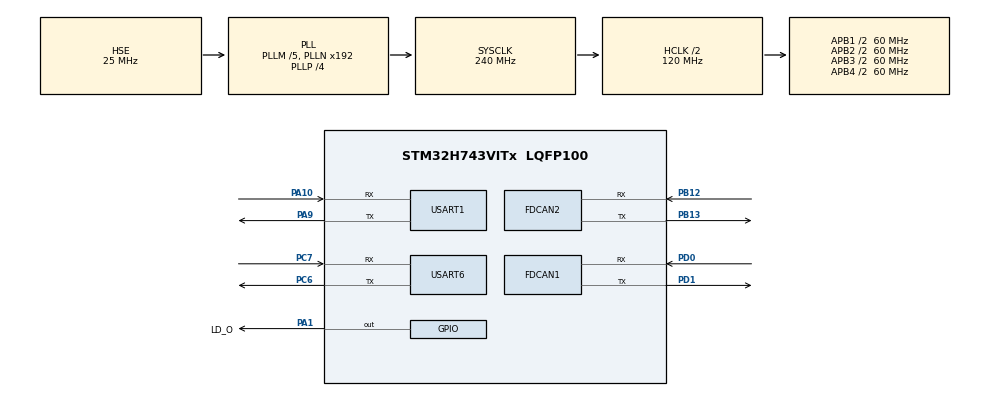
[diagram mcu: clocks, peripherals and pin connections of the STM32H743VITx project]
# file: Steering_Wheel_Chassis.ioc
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FDCAN1.DataSyncJumpWidth=8
FDCAN1.DataTimeSeg1=14
FDCAN1.DataTimeSeg2=5
FDCAN1.NominalSyncJumpWidth=8
FDCAN1.NominalTimeSeg1=14
FDCAN1.NominalTimeSeg2=5
FDCAN1.RxFifo0ElmtsNbr=1
FDCAN1.TxBuffersNbr=6
FDCAN1.TxFifoQueueElmtsNbr=6
FDCAN2.DataSyncJumpWidth=8
FDCAN2.DataTimeSeg1=14
FDCAN2.DataTimeSeg2=5
FDCAN2.NominalSyncJumpWidth=8
FDCAN2.NominalTimeSeg1=14
FDCAN2.NominalTimeSeg2=5
FDCAN2.RxFifo0ElmtsNbr=1
FDCAN2.TxBuffersNbr=6
FDCAN2.TxFifoQueueElmtsNbr=6
FREERTOS.Tasks01=defaultTask,24,128,StartDefaultTask,Default,NULL,Dynamic,NULL,NULL;myTaskA,25,128,StartTaskA,Default,NULL,Dynamic,NULL,NULL;myTaskB,26,128,StartTaskB,Default,NULL,Dynamic,NULL,NULL;myTaskC,27,128,StartTaskC,Default,NULL,Dynamic,NULL,NULL
Mcu.Family=STM32H7
Mcu.Name=STM32H743VITx
Mcu.Package=LQFP100
NVIC.FDCAN1_IT0_IRQn=true\:5\:0\:false\:false\:true\:true\:true\:true
NVIC.FDCAN2_IT0_IRQn=true\:5\:0\:false\:false\:true\:true\:true\:true
NVIC.PriorityGroup=NVIC_PRIORITYGROUP_4
NVIC.TIM2_IRQn=true\:5\:0\:false\:false\:true\:true\:true\:true
NVIC.TIM3_IRQn=true\:5\:0\:false\:false\:true\:true\:true\:true
PA1.GPIO_Label=LD_O
PA1.Signal=GPIO_Output
PA10.Mode=Asynchronous
PA10.Signal=USART1_RX
PA13\ (JTMS/SWDIO).Mode=Serial_Wire
PA13\ (JTMS/SWDIO).Signal=DEBUG_JTMS-SWDIO
PA14\ (JTCK/SWCLK).Mode=Serial_Wire
PA14\ (JTCK/SWCLK).Signal=DEBUG_JTCK-SWCLK
PA9.Mode=Asynchronous
PA9.Signal=USART1_TX
PB12.Mode=FDCAN_Activate
PB12.Signal=FDCAN2_RX
PB13.Mode=FDCAN_Activate
PB13.Signal=FDCAN2_TX
PC6.Mode=Asynchronous
PC6.Signal=USART6_TX
PC7.Mode=Asynchronous
PC7.Signal=USART6_RX
PD0.Mode=FDCAN_Activate
PD0.Signal=FDCAN1_RX
PD1.Mode=FDCAN_Activate
PD1.Signal=FDCAN1_TX
PH0-OSC_IN\ (PH0).Mode=HSE-External-Oscillator
PH0-OSC_IN\ (PH0).Signal=RCC_OSC_IN
PH1-OSC_OUT\ (PH1).Mode=HSE-External-Oscillator
PH1-OSC_OUT\ (PH1).Signal=RCC_OSC_OUT
ProjectManager.HeapSize=0x400
ProjectManager.StackSize=0x400
ProjectManager.TargetToolchain=Makefile
RCC.ADCFreq_Value=50390625
RCC.APB1Freq_Value=60000000
RCC.APB2Freq_Value=60000000
RCC.APB3Freq_Value=60000000
RCC.APB4Freq_Value=60000000
RCC.CortexFreq_Value=240000000
RCC.D1PPRE=RCC_APB3_DIV2
RCC.D2PPRE1=RCC_APB1_DIV2
RCC.D2PPRE2=RCC_APB2_DIV2
RCC.D3PPRE=RCC_APB4_DIV2
RCC.DIVM1=5
RCC.DIVN1=192
RCC.DIVP1=4
RCC.DIVQ1=48
RCC.DIVR1=6
RCC.HCLKFreq_Value=120000000
RCC.HPRE=RCC_HCLK_DIV2
RCC.PLLSourceVirtual=RCC_PLLSOURCE_HSE
RCC.SYSCLKFreq_VALUE=240000000
RCC.SYSCLKSource=RCC_SYSCLKSOURCE_PLLCLK
RCC.USBFreq_Value=20000000
TIM2.Period=1000-1
TIM2.Prescaler=120-1
USART1.VirtualMode-Asynchronous=VM_ASYNC
USART6.VirtualMode=VM_ASYNC
VP_FREERTOS_VS_CMSIS_V2.Mode=CMSIS_V2
VP_TIM2_VS_ClockSourceINT.Mode=Internal
VP_TIM3_VS_ClockSourceINT.Mode=Internal
board=custom

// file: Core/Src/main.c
/* USER CODE BEGIN Header */
/**
  ******************************************************************************
  * @file           : main.c
  * @brief          : Main program body
  ******************************************************************************
  * @attention
  *
  * <h2><center>&copy; Copyright (c) 2022 STMicroelectronics.
  * All rights reserved.</center></h2>
  *
  * This software component is licensed by ST under Ultimate Liberty license
  * SLA0044, the "License"; You may not use this file except in compliance with
  * the License. You may obtain a copy of the License at:
  *                             www.st.com/SLA0044
  *
  ******************************************************************************
  */
/* USER CODE END Header */
#include "main.h"
#include "cmsis_os.h"
#include "fdcan.h"
#include "tim.h"
#include "usart.h"
#include "gpio.h"

/* USER CODE BEGIN Includes */
#include <stdio.h>
#include <stdarg.h>
#include "motor.h"
#include "bsp_can.h"
#include "control.h"
/* USER CODE END Includes */

/* USER CODE BEGIN PTD */
#include "log.h"
/* USER CODE END PTD */

/* USER CODE BEGIN PM */
static char printf_buff[256];
void uart_printf(char *fmt, ...){
  va_list args;
  int ret;
  va_start(args, fmt);
  ret = vsprintf(printf_buff, fmt, args);
  va_end(args);
  if (ret > 0){
    HAL_UART_Transmit(&huart1, (uint8_t*)printf_buff, ret, HAL_MAX_DELAY);
  }
}
/* USER CODE END PM */

void SystemClock_Config(void);
void MX_FREERTOS_Init(void);

/* USER CODE BEGIN 0 */
extern OdriveAxisSetState_t odrive_set_axis[3];
extern arm_pid_instance_f32 speed_pid[3];
extern arm_pid_instance_f32 angle_pid[3];

extern float32_t ref_angle[3];
Motor motor[3] = {
  {.id = 0},
  {.id = 1},
  {.id = 2}
};
uint8_t* getBuffer;

/* USER CODE END 0 */

int main(void)
{

  /* MCU Configuration--------------------------------------------------------*/

  /* Reset of all peripherals, Initializes the Flash interface and the Systick. */
  HAL_Init();

  /* Configure the system clock */
  SystemClock_Config();

  /* Initialize all configured peripherals */
  MX_GPIO_Init();
  MX_FDCAN1_Init();
  MX_FDCAN2_Init();
  MX_TIM2_Init();
  MX_TIM3_Init();
  MX_USART1_UART_Init();
  MX_USART6_UART_Init();
  /* USER CODE BEGIN 2 */
  HAL_TIM_Base_Start_IT(&htim2);
  HAL_TIM_Base_Start_IT(&htim3);
  fdcanfilter();
  HAL_UART_Receive_IT(&huart1, getBuffer, 32);
  HAL_FDCAN_ActivateNotification(&hfdcan2,FDCAN_IT_RX_FIFO0_NEW_MESSAGE, 0);
  arm_pid_init_f32(speed_pid, 1);
  arm_pid_init_f32(speed_pid + 1, 1);
  arm_pid_init_f32(speed_pid + 2, 1);
  arm_pid_init_f32(angle_pid, 1);
  arm_pid_init_f32(angle_pid + 1, 1);
  arm_pid_init_f32(angle_pid + 2, 1);
  void uart_printf(char *fmt, ...);

  /* USER CODE END 2 */

  /* Init scheduler */
  set_speed(motor, 800.0);
  osKernelInitialize();  /* Call init function for freertos objects (in freertos.c) */
  MX_FREERTOS_Init();
  /* Start scheduler */
  osKernelStart();

  /* We should never get here as control is now taken by the scheduler */
  /* Infinite loop */
  while (1)
  {

  }
}

void SystemClock_Config(void)
{
  RCC_OscInitTypeDef RCC_OscInitStruct = {0};
  RCC_ClkInitTypeDef RCC_ClkInitStruct = {0};

  /** Supply configuration update enable
  */
  HAL_PWREx_ConfigSupply(PWR_LDO_SUPPLY);
  /** Configure the main internal regulator output voltage
  */
  __HAL_PWR_VOLTAGESCALING_CONFIG(PWR_REGULATOR_VOLTAGE_SCALE2);

  while(!__HAL_PWR_GET_FLAG(PWR_FLAG_VOSRDY)) {}
  /** Initializes the RCC Oscillators according to the specified parameters
  * in the RCC_OscInitTypeDef structure.
  */
  RCC_OscInitStruct.OscillatorType = RCC_OSCILLATORTYPE_HSE;
  RCC_OscInitStruct.HSEState = RCC_HSE_ON;
  RCC_OscInitStruct.PLL.PLLState = RCC_PLL_ON;
  RCC_OscInitStruct.PLL.PLLSource = RCC_PLLSOURCE_HSE;
  RCC_OscInitStruct.PLL.PLLM = 5;
  RCC_OscInitStruct.PLL.PLLN = 192;
  RCC_OscInitStruct.PLL.PLLP = 4;
  RCC_OscInitStruct.PLL.PLLQ = 48;
  RCC_OscInitStruct.PLL.PLLR = 6;
  RCC_OscInitStruct.PLL.PLLRGE = RCC_PLL1VCIRANGE_2;
  RCC_OscInitStruct.PLL.PLLVCOSEL = RCC_PLL1VCOWIDE;
  RCC_OscInitStruct.PLL.PLLFRACN = 0;
  if (HAL_RCC_OscConfig(&RCC_OscInitStruct) != HAL_OK)
  {
    Error_Handler();
  }
  /** Initializes the CPU, AHB and APB buses clocks
  */
  RCC_ClkInitStruct.ClockType = RCC_CLOCKTYPE_HCLK|RCC_CLOCKTYPE_SYSCLK
                              |RCC_CLOCKTYPE_PCLK1|RCC_CLOCKTYPE_PCLK2
                              |RCC_CLOCKTYPE_D3PCLK1|RCC_CLOCKTYPE_D1PCLK1;
  RCC_ClkInitStruct.SYSCLKSource = RCC_SYSCLKSOURCE_PLLCLK;
  RCC_ClkInitStruct.SYSCLKDivider = RCC_SYSCLK_DIV1;
  RCC_ClkInitStruct.AHBCLKDivider = RCC_HCLK_DIV2;
  RCC_ClkInitStruct.APB3CLKDivider = RCC_APB3_DIV2;
  RCC_ClkInitStruct.APB1CLKDivider = RCC_APB1_DIV2;
  RCC_ClkInitStruct.APB2CLKDivider = RCC_APB2_DIV2;
  RCC_ClkInitStruct.APB4CLKDivider = RCC_APB4_DIV2;

  if (HAL_RCC_ClockConfig(&RCC_ClkInitStruct, FLASH_LATENCY_2) != HAL_OK)
  {
    Error_Handler();
  }
}

/* USER CODE BEGIN 4 */
void HAL_TIM_PeriodElapsedCallback(TIM_HandleTypeDef *htim)
{
  if(htim->Instance == htim2.Instance)
  {
    speed_control(motor);
  }
  if(htim->Instance == htim3.Instance)
  {
    ST_LOGI("ang:%.2f", motor[0].absolute_angle);
  }
}
void HAL_UART_RxCpltCallback(UART_HandleTypeDef *UartHandle){
  if(UartHandle->Instance == huart1.Instance){
  }
}
/* USER CODE END 4 */

void Error_Handler(void)
{
  __disable_irq();
  while (1)
  {
  }
}

/************************ (C) COPYRIGHT STMicroelectronics *****END OF FILE****/

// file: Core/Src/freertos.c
/* USER CODE BEGIN Header */
/**
  ******************************************************************************
  * File Name          : freertos.c
  * Description        : Code for freertos applications
  ******************************************************************************
  * @attention
  *
  * <h2><center>&copy; Copyright (c) 2022 STMicroelectronics.
  * All rights reserved.</center></h2>
  *
  * This software component is licensed by ST under Ultimate Liberty license
  * SLA0044, the "License"; You may not use this file except in compliance with
  * the License. You may obtain a copy of the License at:
  *                             www.st.com/SLA0044
  *
  ******************************************************************************
  */
/* USER CODE END Header */

#include "FreeRTOS.h"
#include "task.h"
#include "main.h"
#include "cmsis_os.h"

/* USER CODE BEGIN Includes */
#include "log.h"
#include "motor.h"
/* USER CODE END Includes */

/* USER CODE BEGIN PM */
extern Motor motor[3];
/* USER CODE END PM */

/* Definitions for defaultTask */
osThreadId_t defaultTaskHandle;
const osThreadAttr_t defaultTask_attributes = {
  .name = "defaultTask",
  .stack_size = 128 * 4,
  .priority = (osPriority_t) osPriorityNormal,
};
/* Definitions for myTaskA */
osThreadId_t myTaskAHandle;
const osThreadAttr_t myTaskA_attributes = {
  .name = "myTaskA",
  .stack_size = 128 * 4,
  .priority = (osPriority_t) osPriorityNormal1,
};
/* Definitions for myTaskB */
osThreadId_t myTaskBHandle;
const osThreadAttr_t myTaskB_attributes = {
  .name = "myTaskB",
  .stack_size = 128 * 4,
  .priority = (osPriority_t) osPriorityNormal2,
};
/* Definitions for myTaskC */
osThreadId_t myTaskCHandle;
const osThreadAttr_t myTaskC_attributes = {
  .name = "myTaskC",
  .stack_size = 128 * 4,
  .priority = (osPriority_t) osPriorityNormal3,
};

void StartDefaultTask(void *argument);
void StartTaskA(void *argument);
void StartTaskB(void *argument);
void StartTaskC(void *argument);

void MX_FREERTOS_Init(void); /* (MISRA C 2004 rule 8.1) */

void MX_FREERTOS_Init(void) {

  /* Create the thread(s) */
  /* creation of defaultTask */
  defaultTaskHandle = osThreadNew(StartDefaultTask, NULL, &defaultTask_attributes);

  /* creation of myTaskA */
  myTaskAHandle = osThreadNew(StartTaskA, NULL, &myTaskA_attributes);

  /* creation of myTaskB */
  myTaskBHandle = osThreadNew(StartTaskB, NULL, &myTaskB_attributes);

  /* creation of myTaskC */
  myTaskCHandle = osThreadNew(StartTaskC, NULL, &myTaskC_attributes);

}

void StartDefaultTask(void *argument)
{
  /* USER CODE BEGIN StartDefaultTask */
  /* Infinite loop */
  for(;;)
  {
    // HAL_GPIO_TogglePin(LD_O_GPIO_Port, LD_O_Pin);
    // ST_LOG("\033[0;42;%dm%d\033[0m was selected", 31 + cnt % 4, cnt);
    // osDelay(500);
    // cnt++;
  }
  /* USER CODE END StartDefaultTask */
}

void StartTaskA(void *argument)
{
  /* USER CODE BEGIN StartTaskA */
  /* Infinite loop */
  for(;;)
  {
    // HAL_GPIO_TogglePin(LD_O_GPIO_Port, LD_O_Pin);
    // ST_LOG("this is A,time is %d", HAL_GetTick());
    // osDelay(500);
  }
  /* USER CODE END StartTaskA */
}

void StartTaskB(void *argument)
{
  /* USER CODE BEGIN StartTaskB */
  /* Infinite loop */
  for(;;)
  {
    // ST_LOG("this is B,time is %d", HAL_GetTick());
    // osDelay(100);
    // uart_printf("this task b\r\n");
    // osDelay(500);
  }
  /* USER CODE END StartTaskB */
}

void StartTaskC(void *argument)
{
  /* USER CODE BEGIN StartTaskC */
  /* Infinite loop */
  for(;;)
  {
    // ST_LOGE("ang:%.2f, tar:%.2f", motor[0].absolute_angle, motor[0].target_angle);
  }
  /* USER CODE END StartTaskC */
}

/************************ (C) COPYRIGHT STMicroelectronics *****END OF FILE****/
